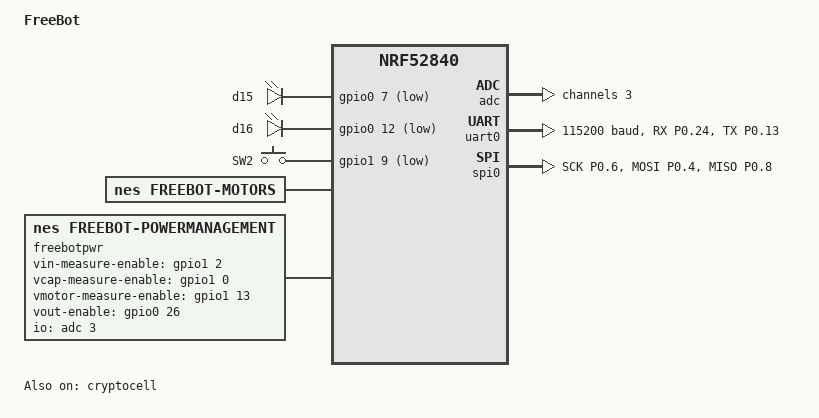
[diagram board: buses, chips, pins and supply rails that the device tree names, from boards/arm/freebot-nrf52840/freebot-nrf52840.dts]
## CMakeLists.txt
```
cmake_minimum_required(VERSION 3.20.0)
find_package(Zephyr REQUIRED HINTS $ENV{ZEPHYR_BASE})

project(freebot_demo)

include_directories(lib/freebot/inc)

# FreeBot API sources
if(DEFINED FB_DUMMY_API)
    target_sources(app PRIVATE lib/freebot/src/fb_dummy.c)
else()
    target_sources(app PRIVATE lib/freebot/src/fb_motor.c lib/freebot/src/fb_io.c lib/freebot/src/fb_pwr.c)
endif()

# SCT sources
include_directories(lib/sct/inc)
# target_sources(app PRIVATE lib/sct/src/generic_mic.c)
target_sources(app PRIVATE lib/sct/src/sct_work_and_charge.c)

# Main application source
target_sources(app PRIVATE src/main.c)



















# #
# # Copyright (c) 2018 Nordic Semiconductor
# #
# # SPDX-License-Identifier: LicenseRef-Nordic-5-Clause
# #
# cmake_minimum_required(VERSION 3.20.0)

# find_package(Zephyr REQUIRED HINTS $ENV{ZEPHYR_BASE})
# project(Freebot_sender)


# include_directories(lib/freebot/inc/)

# # FreeBot API sources
# if(DEFINED FB_DUMMY_API)
#     target_include_directories(app PRIVATE lib/freebot/inc)
#     target_sources(app PRIVATE lib/freebot/src/fb_dummy.c)
# else()
#     target_include_directories(app PRIVATE lib/freebot/inc)
#     target_sources(app PRIVATE lib/freebot/src/fb_motor.c lib/freebot/src/fb_io.c lib/freebot/src/fb_pwr.c)
# endif()

# # NORDIC SDK APP START
# target_include_directories(app PRIVATE lib/freebot/inc)
# target_sources(app PRIVATE src/main.c)

# # NORDIC SDK APP END

# zephyr_library_include_directories(.)
```

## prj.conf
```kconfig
#
# Copyright (c) 2018 Nordic Semiconductor
#
# SPDX-License-Identifier: LicenseRef-Nordic-5-Clause
#

# Enable the UART driver
CONFIG_UART_ASYNC_API=y
CONFIG_NRFX_UARTE0=y
CONFIG_SERIAL=y

CONFIG_GPIO=y

# Make sure printk is printing to the UART console
CONFIG_CONSOLE=y

CONFIG_HEAP_MEM_POOL_SIZE=2048

CONFIG_BT=y
CONFIG_BT_PERIPHERAL=y
CONFIG_BT_DEVICE_NAME="FREEBOT_2"
CONFIG_BT_MAX_CONN=1
CONFIG_BT_MAX_PAIRED=1

# Enable the NUS service
CONFIG_BT_NUS=y

# Enable bonding
CONFIG_BT_SETTINGS=y
CONFIG_FLASH=y
CONFIG_FLASH_PAGE_LAYOUT=y
CONFIG_FLASH_MAP=y
CONFIG_NVS=y
CONFIG_SETTINGS=y

# Enable DK LED and Buttons library
# CONFIG_DK_LIBRARY=y

# This example requires more stack
CONFIG_MAIN_STACK_SIZE=1152
CONFIG_SYSTEM_WORKQUEUE_STACK_SIZE=2048

# Config logger
CONFIG_LOG=y
CONFIG_LOG_MODE_IMMEDIATE=y
CONFIG_USE_SEGGER_RTT=y
CONFIG_LOG_BACKEND_RTT=y
CONFIG_LOG_BACKEND_UART=y
CONFIG_LOG_PRINTK=y
CONFIG_FPU=y


CONFIG_ASSERT=y

CONFIG_CONSOLE=y
CONFIG_CONSOLE_SUBSYS=y
CONFIG_CONSOLE_HANDLER=y
CONFIG_CONSOLE_GETCHAR=y
CONFIG_ADC=y
CONFIG_COMMON_LIBC_MALLOC_ARENA_SIZE=-1
CONFIG_THREAD_LOCAL_STORAGE=y
CONFIG_COMPILER_FREESTANDING=n
CONFIG_FORTIFY_SOURCE_COMPILE_TIME=y

# CONFIG_ENTROPY_GENERATOR=y
```

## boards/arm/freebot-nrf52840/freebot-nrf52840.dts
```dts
// Copyright (c) 2024 Nordic Semiconductor ASA
// SPDX-License-Identifier: Apache-2.0

/dts-v1/;
#include <nordic/nrf52840_qiaa.dtsi>

/ {
    model = "FreeBot";
    compatible = "nes,freebot-nrf52840";

    chosen {
        zephyr,console = &uart0;
        zephyr,shell-uart = &uart0;
        zephyr,sram = &sram0;
        zephyr,flash = &flash0;
        zephyr,code-partition = &slot0_partition;
    };

    leds {
        compatible = "gpio-leds";
        d15: led_0 {
            gpios = <&gpio0 7 GPIO_ACTIVE_LOW>;
        };
        d16: led_1 {
            gpios = <&gpio0 12 GPIO_ACTIVE_LOW>;
        };
    };

    buttons {
        compatible = "gpio-keys";
        sw2: button_0 {
            gpios = <&gpio1 9 GPIO_ACTIVE_LOW>;
            label = "SW2";
            zephyr,code = <INPUT_KEY_0>;
        };
    };

    motors {
        compatible = "nes,freebot-motors";
        m1: motor1 {
            in-a-gpios = <&gpio0 9 GPIO_ACTIVE_HIGH>;
            in-b-gpios = <&gpio0 10 GPIO_ACTIVE_HIGH>;
            hall-c1-gpios = <&gpio1 4 0>;
            hall-c2-gpios = <&gpio1 6 0>;
        };
        m2: motor2 {
            in-a-gpios = <&gpio0 15 GPIO_ACTIVE_HIGH>;
            in-b-gpios = <&gpio0 17 GPIO_ACTIVE_HIGH>;
            hall-c1-gpios = <&gpio0 20 0>;
            hall-c2-gpios = <&gpio0 22 0>;
        };
        m3: motor3 {
            in-a-gpios = <&gpio1 10 GPIO_ACTIVE_HIGH>;
            in-b-gpios = <&gpio1 11 GPIO_ACTIVE_HIGH>;
            hall-c1-gpios = <&gpio0 2 0>;
            hall-c2-gpios = <&gpio0 3 0>;
        };
        m4: motor4 {
            in-a-gpios = <&gpio0 30 GPIO_ACTIVE_HIGH>;
            in-b-gpios = <&gpio0 31 GPIO_ACTIVE_HIGH>;
            hall-c1-gpios = <&gpio0 28 0>;
            hall-c2-gpios = <&gpio0 29 0>;
        };
    };

    freebotpwr {
        compatible = "nes,freebot-powermanagement";
        io-channels = <&adc 3>;
        vin-measure-enable-gpios = <&gpio1 2 GPIO_ACTIVE_HIGH>;
        vcap-measure-enable-gpios = <&gpio1 0 GPIO_ACTIVE_HIGH>;
        vmotor-measure-enable-gpios = <&gpio1 13 GPIO_ACTIVE_HIGH>;
        vout-enable-gpios = <&gpio0 26 GPIO_ACTIVE_HIGH>;
    };
};

&uicr {
    nfct-pins-as-gpios;
};

&gpiote {
    status = "okay";
};

&gpio0 {
    status = "okay";
};

&gpio1 {
    status = "okay";
};

&adc {
    #address-cells = <1>;
    #size-cells = <0>;
    status = "okay";

    channel@3 {
        reg = <3>;
        zephyr,gain = "ADC_GAIN_4"; /* nRF52840 DOCS: ΔVmeasure = Vref / GAIN */
        zephyr,reference = "ADC_REF_INTERNAL"; /* nRF52840 DOCS: Internal Vref = 600mV */
        zephyr,acquisition-time = <ADC_ACQ_TIME(ADC_ACQ_TIME_MICROSECONDS, 40)>; /* nRF52840 DOCS: input R > 400k => 40ms */
        zephyr,input-positive = <NRF_SAADC_AIN3>; /* P0.05 */
        zephyr,resolution = <14>;
    };

};

&uart0 {
    compatible = "nordic,nrf-uarte";
    status = "okay";
    current-speed = <115200>;
    pinctrl-0 = <&uart0_default>;
    pinctrl-1 = <&uart0_sleep>;
    pinctrl-names = "default", "sleep";
};

&spi0 {
    compatible = "nordic,nrf-spi";
    status = "okay";
    pinctrl-0 = <&spi0_default>;
    pinctrl-1 = <&spi0_sleep>;
    pinctrl-names = "default", "sleep";
};

&flash0 {
    partitions {
        compatible = "fixed-partitions";
        #address-cells = <1>;
        #size-cells = <1>;

        boot_partition: partition@0 {
            label = "mcuboot";
            reg = <0x0 0xc000>;
        };
        slot0_partition: partition@c000 {
            label = "image-0";
            reg = <0xc000 0x72000>;
        };
        slot1_partition: partition@7e000 {
            label = "image-1";
            reg = <0x7e000 0x72000>;
        };
        scratch_partition: partition@f0000 {
            label = "image-scratch";
            reg = <0xf0000 0xa000>;
        };
        storage_partition: partition@fa000 {
            label = "storage";
            reg = <0xfa000 0x6000>;
        };
    };
};

&pinctrl {
    uart0_default: uart0_default {
        group1 {
            // psels = <NRF_PSEL(UART_RX, 0, 13)>;
            psels = <NRF_PSEL(UART_RX, 0, 24)>;
            bias-pull-up;
        };
        group2 {
            // psels = <NRF_PSEL(UART_TX, 0, 24)>;
            psels = <NRF_PSEL(UART_TX, 0, 13)>;
        };
    };
    uart0_sleep: uart0_sleep {
        group1 {
            psels = <NRF_PSEL(UART_RX, 0, 13)>,
                    <NRF_PSEL(UART_TX, 0, 24)>;
            low-power-enable;
        };
    };

    spi0_default: spi0_default {
        group1 {
            psels = <NRF_PSEL(SPIM_SCK, 0, 6)>,
                    <NRF_PSEL(SPIM_MOSI, 0, 4)>,
                    <NRF_PSEL(SPIM_MISO, 0, 8)>;
        };
    };
    spi0_sleep: spi0_sleep {
        group1 {
            psels = <NRF_PSEL(SPIM_SCK, 0, 6)>,
                    <NRF_PSEL(SPIM_MOSI, 0, 4)>,
                    <NRF_PSEL(SPIM_MISO, 0, 8)>;
            low-power-enable;
        };
    };
};

&nfct {
	status = "disabled";
};

&power {
	status = "disabled";
};

&temp {
	status = "disabled";
};

&cryptocell {
	status = "okay";
};

&ecb {
	status = "disabled";
};

&ccm {
	status = "disabled";
};

&acl {
	status = "disabled";
};
```

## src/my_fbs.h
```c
#ifdef __cplusplus
extern "C" {
#endif

#include <zephyr/types.h>
#include <stdio.h>
#include <string.h>
#include <zephyr/bluetooth/gatt.h>

#include "freebot.h"

#define BT_UUID_16_FBS_VAL 0x1560
#define BT_UUID_16_FBS_VOLT_VAL 0x1561
#define BT_UUID_16_FBS BT_UUID_DECLARE_16(BT_UUID_16_FBS_VAL)
#define BT_UUID_16_FBS_AVGS BT_UUID_DECLARE_16(BT_UUID_16_FBS_VOLT_VAL)

/** @brief Voltage data format */
typedef uint16_t fbcs_v_t;
```
